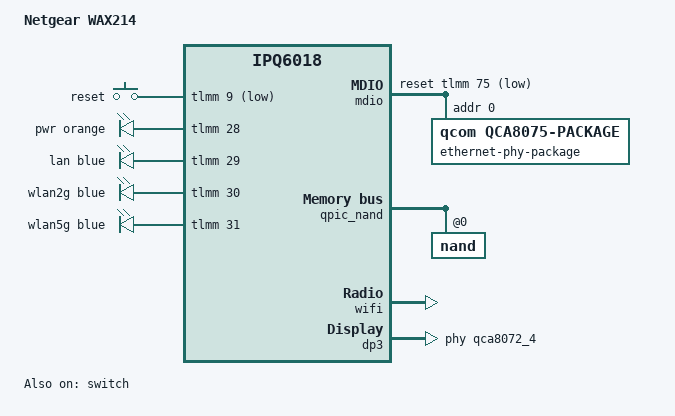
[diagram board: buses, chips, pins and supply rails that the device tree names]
// SPDX-License-Identifier: GPL-2.0-or-later OR MIT

/dts-v1/;

#include "ipq6018.dtsi"
#include "ipq6018-ess.dtsi"
#include "ipq6018-nss.dtsi"
#include "ipq6018-common.dtsi"
#include "ipq6018-cp-cpu.dtsi"

#include <dt-bindings/gpio/gpio.h>
#include <dt-bindings/input/input.h>
#include <dt-bindings/leds/common.h>

/ {
	model = "Netgear WAX214";
	compatible = "netgear,wax214", "qcom,ipq6018";

	aliases {
		serial0 = &blsp1_uart3;

		led-boot = &pwr;
		led-failsafe = &pwr;
		led-running = &pwr;
		led-upgrade = &pwr;

		ethernet0 = &dp3;

		label-mac-device = &dp3;
	};

	chosen {
		stdout-path = "serial0:115200n8";
		bootargs-append = " root=/dev/ubiblock0_1";
	};

	keys {
		compatible = "gpio-keys";

		reset {
			label = "reset";
			gpios = <&tlmm 9 GPIO_ACTIVE_LOW>;
			linux,code = <KEY_RESTART>;
		};
	};

	leds {
		compatible = "gpio-leds";

		pwr: pwr {
			color = <LED_COLOR_ID_ORANGE>;
			function = LED_FUNCTION_POWER;
			gpios = <&tlmm 28 GPIO_ACTIVE_HIGH>;
		};

		lan {
			color = <LED_COLOR_ID_BLUE>;
			function = LED_FUNCTION_LAN;
			gpios = <&tlmm 29 GPIO_ACTIVE_HIGH>;
		};

		wlan2g {
			color = <LED_COLOR_ID_BLUE>;
			function = LED_FUNCTION_WLAN;
			function-enumerator = <0>;
			gpios = <&tlmm 30 GPIO_ACTIVE_HIGH>;
			linux,default-trigger = "phy0radio";
		};

		wlan5g {
			color = <LED_COLOR_ID_BLUE>;
			function = LED_FUNCTION_WLAN;
			function-enumerator = <1>;
			gpios = <&tlmm 31 GPIO_ACTIVE_HIGH>;
			linux,default-trigger = "phy1radio";
		};
	};
};

&mdio {
	status = "okay";

	pinctrl-0 = <&mdio_pins>;
	pinctrl-names = "default";
	reset-gpios = <&tlmm 75 GPIO_ACTIVE_LOW>;

	ethernet-phy-package@0 {
		compatible = "qcom,qca8075-package";
		#address-cells = <1>;
		#size-cells = <0>;
		reg = <0>;

		qca8072_4: ethernet-phy@4 {
			compatible = "ethernet-phy-ieee802.3-c22";
			reg = <4>;
		};
	};
};

&switch {
	status = "okay";

	switch_lan_bmp = <ESS_PORT3>;
	switch_mac_mode = <MAC_MODE_PSGMII>;
	port3_pcs_channel = <4>;

	qcom,port_phyinfo {
		port@3 {
			port_id = <3>;
			phy_address = <4>;
		};
	};
};

&qpic_nand {
	status = "okay";

	nand@0 {
		reg = <0>;

		nand-ecc-strength = <4>;
		nand-ecc-step-size = <512>;
		nand-bus-width = <8>;

		partitions {
			compatible = "qcom,smem-part";
		};
	};
};

&wifi {
	status = "okay";
	qcom,ath11k-fw-memory-mode = <1>;
	qcom,ath11k-calibration-variant = "Netgear-WAX214";
};

&dp3 {
	status = "okay";
	phy-handle = <&qca8072_4>;
	label = "lan";
};

&edma {
	status = "okay";
};
